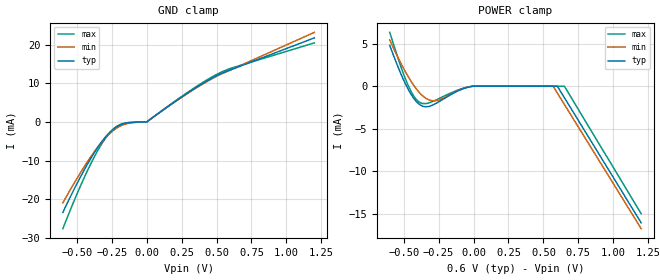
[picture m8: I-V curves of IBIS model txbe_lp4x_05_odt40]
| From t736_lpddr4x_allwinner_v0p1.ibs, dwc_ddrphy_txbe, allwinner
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[Model] txbe_lp4x_05_odt40
Model_type   Input
Polarity   Non-Inverting
Enable   Active-High
C_comp   920.519fF   920.156fF   927.268fF
C_comp_pullup   274.912fF   271.042fF   275.700fF
C_comp_pulldown 484.978fF   482.977fF   500.556fF
Vinh = 360.000mV
Vinl = 307.000mV
[Model Spec]
D_overshoot_ampl_h 0.1 NA   NA
D_overshoot_ampl_l 0.1 NA   NA
D_overshoot_area_l 300.000m NA   NA
D_overshoot_area_h 300.000m NA   NA
[Receiver Thresholds]
Vth = 163.000mV
Vth_min = 143.000mV
Vth_max = 150.000mV
Vinh_ac = 60.000mV
Vinh_dc = 60.000mV
Vinl_ac = -60.000mV
Vinl_dc = -60.000mV
Tslew_ac = 5.000ns
Threshold_sensitivity = 0.5
Reference_supply Power_clamp_ref
[Temperature Range]   25.000   125.000   -40.000
[Voltage Range]   600.000mV   570.000mV   650.000mV
[GND Clamp Reference]   0.00V   0.00V   0.00V
[C Comp Corner]
| variable   typ   min   max
C_comp 920.156fF   927.268fF   920.519fF
C_comp_pullup 274.912fF   275.700fF   271.042fF
C_comp_pulldown 484.978fF   500.556fF   482.977fF
[POWER Clamp Reference]   600.000mV   570.000mV   650.000mV
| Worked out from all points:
|   GND clamp passes 1 mA (typ) near -0.20 V on its own axis
|   POWER clamp passes 1 mA (typ) near -0.16 V on its own axis
[GND Clamp]
-600mV    -23.39mA   -20.92mA   -27.6mA
-480mV    -14.64mA   -13.48mA   -17.06mA
-390mV    -8.831mA   -8.474mA   -10.09mA
-300mV    -4.095mA   -4.318mA   -4.464mA
-230mV    -1.583mA   -1.967mA   -1.562mA
-190mV    -743.1uA   -1.076mA   -646.3uA
-150mV    -301.6uA   -515.7uA   -224.7uA
0V        0A         0A         0A
330mV     8.367mA    8.25mA     8.569mA
460mV     11.19mA    11.04mA    11.5mA
550mV     12.79mA    12.67mA    13.16mA
1.2V      21.76mA    23.19mA    20.47mA
[Power Clamp]
-600mV    4.8mA      5.43mA     6.31mA
-470mV    -296uA     1.186mA    160uA
-410mV    -1.788mA   -312uA     -1.55mA
-370mV    -2.306mA   -1.054mA   -2.02mA
-320mV    -2.376mA   -1.604mA   -1.96mA
-260mV    -1.938mA   -1.682mA   -1.55mA
-120mV    -616uA     -574uA     -500uA
-10mV     -18uA      -12uA      -10uA
570mV     -1.516uA   -12.82uA   -267.5nA
600mV     -1.612uA   -807.7uA   -285.1nA
650mV     -1.337mA   -2.133mA   -314.8nA
1.2V      -16.03mA   -16.71mA   -14.95mA
